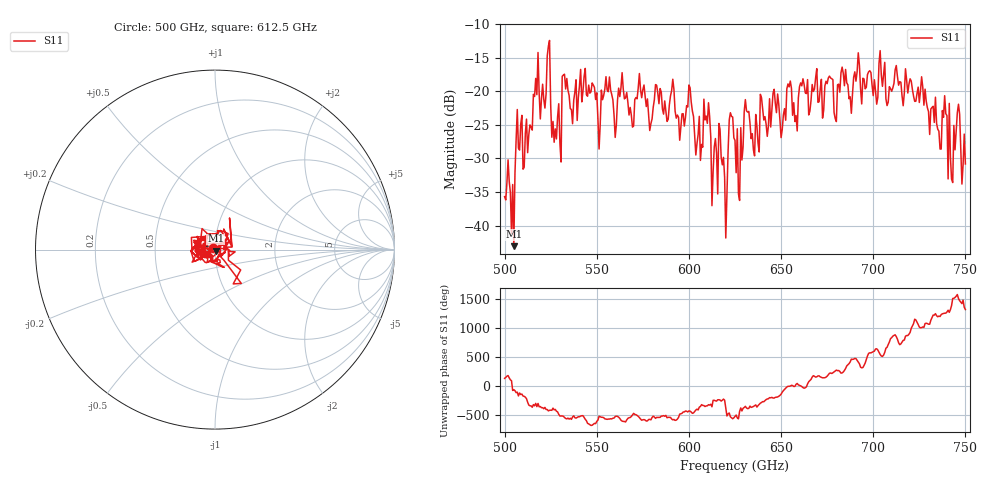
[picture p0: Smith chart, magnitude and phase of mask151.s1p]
!Created with skrf (http://scikit-rf.org).
# GHz S MA R 50.0
!freq magS11 angS11
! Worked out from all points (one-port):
!   401 points, 500 GHz to 750 GHz, reference 50 ohm
!   lowest |S11| = -43.1 dB at 505 GHz (marker M1), VSWR 1.01, Z = 50.4 - j0.588 ohm
!   |S11| at or under -10 dB: start of sweep to end of sweep
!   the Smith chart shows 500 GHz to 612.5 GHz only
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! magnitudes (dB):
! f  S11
! 500 GHz  -35.7
! 505 GHz  -43.1
! 507.5 GHz  -28.5
! 511.2 GHz  -26.3
! 516.9 GHz  -18.1
! 520.6 GHz  -19.0
! 523.8 GHz  -13.3
! 526.9 GHz  -27.6
! 531.2 GHz  -17.8
! 532.5 GHz  -17.5
! 550.6 GHz  -24.1
! 562.5 GHz  -20.8
! 593.8 GHz  -23.6
! 600.6 GHz  -19.5
! 605 GHz  -26.4
! 609.4 GHz  -23.7
! 619.4 GHz  -32.8
! 622.5 GHz  -23.2
! 625 GHz  -27.3
! 628.1 GHz  -25.4
! 631.2 GHz  -22.9
! 634.4 GHz  -26.3
! 656.2 GHz  -23.6
! 687.5 GHz  -20.8
! 691.2 GHz  -17.1
! 718.8 GHz  -20.3
! 746.2 GHz  -21.9
! 750 GHz  -30.8
